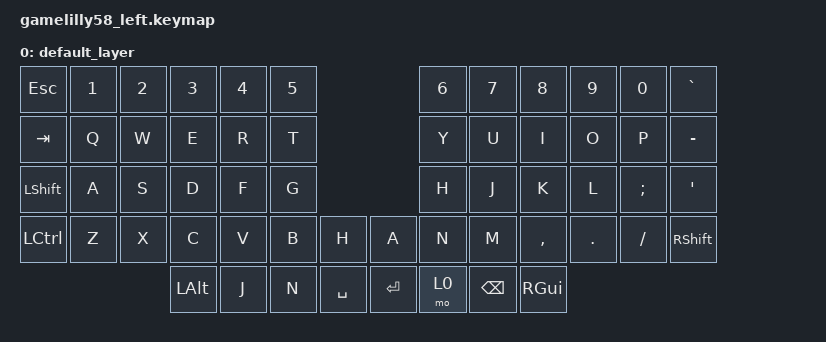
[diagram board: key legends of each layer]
/*
 * Copyright (c) 2020 The ZMK Contributors
 *
 * SPDX-License-Identifier: MIT
 */

#include <behaviors.dtsi>
#include <dt-bindings/zmk/keys.h>


&kscan0 {
    col-gpios
        = <&pro_micro 19 (GPIO_ACTIVE_HIGH | GPIO_PULL_DOWN)>
        , <&pro_micro 18 (GPIO_ACTIVE_HIGH | GPIO_PULL_DOWN)>
        , <&gpio1     01 (GPIO_ACTIVE_HIGH | GPIO_PULL_DOWN)>
        , <&pro_micro 14 (GPIO_ACTIVE_HIGH | GPIO_PULL_DOWN)>
        , <&pro_micro 16 (GPIO_ACTIVE_HIGH | GPIO_PULL_DOWN)>
        , <&pro_micro 10 (GPIO_ACTIVE_HIGH | GPIO_PULL_DOWN)>
        ;
}; 




/ {
    keymap {
        compatible = "zmk,keymap";

        default_layer {
            // ------------------------------------------------------------------------------------------------------------
            // |  ESC  |  1  |  2  |  3   |  4   |  5   |                   |  6   |  7    |  8    |  9   |   0   |   `   |
            // |  TAB  |  Q  |  W  |  E   |  R   |  T   |                   |  Y   |  U    |  I    |  O   |   P   |   -   |
            // |  CTRL |  A  |  S  |  D   |  F   |  G   |                   |  H   |  J    |  K    |  L   |   ;   |   '   |
            // | SHIFT |  Z  |  X  |  C   |  V   |  B   |   k  |  |  "]"  |  N   |  M    |  ,    |  .   |   /   | SHIFT |
            //                     | ALT  |  H   | glide|  SPACE |  | ENTER | RAISE| BSPC  | GUI   |

            bindings = <
&kp ESC         &kp N1  &kp N2  &kp N3    &kp N4  &kp N5                        &kp N6  &kp N7    &kp N8     &kp N9   &kp N0    &kp GRAVE
&kp TAB         &kp Q   &kp W   &kp E     &kp R   &kp T                         &kp Y   &kp U     &kp I      &kp O    &kp P     &kp MINUS
&kp LEFT_SHIFT  &kp A   &kp S   &kp D     &kp F   &kp G                         &kp H   &kp J     &kp K      &kp L    &kp SEMI  &kp SQT
&kp LCTRL       &kp Z   &kp X   &kp C     &kp V   &kp B   &kp H        &kp A    &kp N   &kp M     &kp COMMA  &kp DOT  &kp FSLH  &kp RSHFT
                                &kp LALT  &kp J   &kp N   &kp SPACE    &kp RET  &mo 0   &kp BSPC  &kp RGUI
            >;
        };
    };
};
